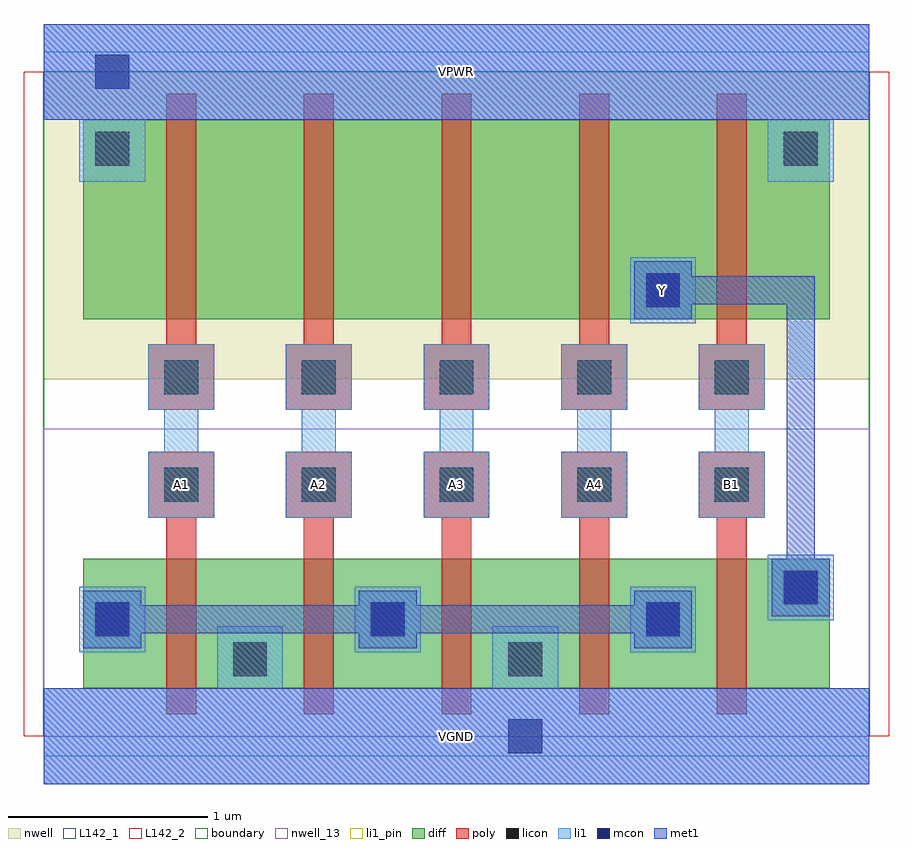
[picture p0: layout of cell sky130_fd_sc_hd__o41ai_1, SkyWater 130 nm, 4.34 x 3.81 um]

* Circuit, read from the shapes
.subckt sky130_fd_sc_hd__o41ai_1 A1 A2 A3 A4 B1 VGND VPWR Y
XM1 VGND A1 n1 VSUBS sky130_fd_pr__nfet_01v8 w=0.65 l=0.15
XM2 n1 A2 VGND VSUBS sky130_fd_pr__nfet_01v8 w=0.65 l=0.15
XM3 VGND A3 n1 VSUBS sky130_fd_pr__nfet_01v8 w=0.65 l=0.15
XM4 n1 A4 VGND VSUBS sky130_fd_pr__nfet_01v8 w=0.65 l=0.15
XM5 Y B1 n1 VSUBS sky130_fd_pr__nfet_01v8 w=0.65 l=0.15
XM6 n2 A1 VPWR n3 sky130_fd_pr__pfet_01v8 w=1 l=0.15
XM7 n4 A2 n2 n3 sky130_fd_pr__pfet_01v8 w=1 l=0.15
XM8 n5 A3 n4 n3 sky130_fd_pr__pfet_01v8 w=1 l=0.15
XM9 Y A4 n5 n3 sky130_fd_pr__pfet_01v8 w=1 l=0.15
XM10 VPWR B1 Y n3 sky130_fd_pr__pfet_01v8 w=1 l=0.15
.ends

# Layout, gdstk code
import gdstk
lib = gdstk.Library(unit=1e-6, precision=1e-09)
def R(c, l, rs):  # rectangles x0, y0, x1, y1
    for r in rs: c.add(gdstk.rectangle(r[:2], r[2:], *l))
def A(c, l, x, y, w, h, nx, ny, dx, dy):  # array of equal rectangles
    R(c, l, [(x+i*dx, y+j*dy, x+i*dx+w, y+j*dy+h) for i in range(nx) for j in range(ny)])
def P(c, l, *ps):  # polygons
    for p in ps: c.add(gdstk.Polygon(p, *l))
nwell_13 = (64, 13)
nwell = (64, 20)
diff = (65, 20)
poly = (66, 20)
licon = (66, 44)
li1_pin = (67, 16)
li1 = (67, 20)
mcon = (67, 44)
met1 = (68, 20)
L142_1 = (142, 1)
L142_2 = (142, 2)
boundary = (235, 4)

sky130_fd_sc_hd__o41ai_1 = lib.new_cell('sky130_fd_sc_hd__o41ai_1')
R(sky130_fd_sc_hd__o41ai_1, nwell_13, [(0,0,4.14,1.54)])
R(sky130_fd_sc_hd__o41ai_1, nwell, [(0,1.79,4.14,3.33)])
A(sky130_fd_sc_hd__o41ai_1, diff, 0.615, 0.24, 0.69, 0.65, 4, 1, 0.69, 0)
A(sky130_fd_sc_hd__o41ai_1, diff, 0.615, 2.09, 0.69, 1, 4, 1, 0.69, 0)
R(sky130_fd_sc_hd__o41ai_1, diff, [(0.2,0.24,3.94,0.89), (0.2,0.24,0.615,0.89), (3.375,0.24,3.94,0.89), (0.2,2.09,3.94,3.09), (0.2,2.09,0.615,3.09), (3.375,2.09,3.94,3.09)])
P(sky130_fd_sc_hd__o41ai_1, poly, [(1.305,0.11),(1.305,1.095),(1.215,1.095),(1.215,1.425),(1.545,1.425),(1.545,1.095),(1.455,1.095),(1.455,0.11)],
  [(1.215,1.635),(1.215,1.965),(1.305,1.965),(1.305,3.22),(1.455,3.22),(1.455,1.965),(1.545,1.965),(1.545,1.635)],
  [(0.615,0.11),(0.615,1.095),(0.525,1.095),(0.525,1.425),(0.855,1.425),(0.855,1.095),(0.765,1.095),(0.765,0.11)],
  [(0.525,1.635),(0.525,1.965),(0.615,1.965),(0.615,3.22),(0.765,3.22),(0.765,1.965),(0.855,1.965),(0.855,1.635)],
  [(2.685,0.11),(2.685,1.095),(2.595,1.095),(2.595,1.425),(2.925,1.425),(2.925,1.095),(2.835,1.095),(2.835,0.11)],
  [(2.595,1.635),(2.595,1.965),(2.685,1.965),(2.685,3.22),(2.835,3.22),(2.835,1.965),(2.925,1.965),(2.925,1.635)],
  [(1.995,0.11),(1.995,1.095),(1.905,1.095),(1.905,1.425),(2.235,1.425),(2.235,1.095),(2.145,1.095),(2.145,0.11)],
  [(1.905,1.635),(1.905,1.965),(1.995,1.965),(1.995,3.22),(2.145,3.22),(2.145,1.965),(2.235,1.965),(2.235,1.635)],
  [(3.375,0.11),(3.375,1.095),(3.285,1.095),(3.285,1.425),(3.615,1.425),(3.615,1.095),(3.525,1.095),(3.525,0.11)],
  [(3.285,1.635),(3.285,1.965),(3.375,1.965),(3.375,3.22),(3.525,3.22),(3.525,1.965),(3.615,1.965),(3.615,1.635)])
A(sky130_fd_sc_hd__o41ai_1, licon, 0.26, 0.5, 0.17, 0.17, 3, 1, 1.38, 0)
A(sky130_fd_sc_hd__o41ai_1, licon, 0.605, 1.175, 0.17, 0.17, 5, 2, 0.69, 0.54)
R(sky130_fd_sc_hd__o41ai_1, licon, [(0.95,0.3,1.12,0.47), (2.33,0.3,2.5,0.47), (3.71,0.66,3.88,0.83), (3.02,2.15,3.19,2.32), (0.26,2.86,0.43,3.03), (3.71,2.86,3.88,3.03)])
R(sky130_fd_sc_hd__o41ai_1, li1_pin, [(0,-0.24,4.14,0.24), (2.94,2.07,3.27,2.4), (0,3.09,4.14,3.57)])
P(sky130_fd_sc_hd__o41ai_1, li1_pin, [(1.905,1.095),(1.905,1.425),(1.985,1.425),(1.985,1.635),(1.905,1.635),(1.905,1.965),(2.235,1.965),(2.235,1.635),(2.155,1.635),(2.155,1.425),(2.235,1.425),(2.235,1.095)],
  [(0.525,1.095),(0.525,1.425),(0.605,1.425),(0.605,1.635),(0.525,1.635),(0.525,1.965),(0.855,1.965),(0.855,1.635),(0.775,1.635),(0.775,1.425),(0.855,1.425),(0.855,1.095)],
  [(2.595,1.095),(2.595,1.425),(2.675,1.425),(2.675,1.635),(2.595,1.635),(2.595,1.965),(2.925,1.965),(2.925,1.635),(2.845,1.635),(2.845,1.425),(2.925,1.425),(2.925,1.095)],
  [(1.215,1.095),(1.215,1.425),(1.295,1.425),(1.295,1.635),(1.215,1.635),(1.215,1.965),(1.545,1.965),(1.545,1.635),(1.465,1.635),(1.465,1.425),(1.545,1.425),(1.545,1.095)],
  [(3.285,1.095),(3.285,1.425),(3.365,1.425),(3.365,1.635),(3.285,1.635),(3.285,1.965),(3.615,1.965),(3.615,1.635),(3.535,1.635),(3.535,1.425),(3.615,1.425),(3.615,1.095)])
A(sky130_fd_sc_hd__o41ai_1, li1, 0.18, 0.42, 0.33, 0.33, 3, 1, 1.38, 0)
R(sky130_fd_sc_hd__o41ai_1, li1, [(3.63,0.58,3.96,0.91), (2.94,2.07,3.27,2.4)])
P(sky130_fd_sc_hd__o41ai_1, li1, [(1.215,1.095),(1.215,1.425),(1.295,1.425),(1.295,1.635),(1.215,1.635),(1.215,1.965),(1.545,1.965),(1.545,1.635),(1.465,1.635),(1.465,1.425),(1.545,1.425),(1.545,1.095)],
  [(0.18,2.78),(0.18,3.09),(0,3.09),(0,3.57),(4.14,3.57),(4.14,3.09),(3.96,3.09),(3.96,2.78),(3.63,2.78),(3.63,3.09),(0.51,3.09),(0.51,2.78)],
  [(0.525,1.095),(0.525,1.425),(0.605,1.425),(0.605,1.635),(0.525,1.635),(0.525,1.965),(0.855,1.965),(0.855,1.635),(0.775,1.635),(0.775,1.425),(0.855,1.425),(0.855,1.095)],
  [(0,-0.24),(0,0.24),(0.87,0.24),(0.87,0.55),(1.2,0.55),(1.2,0.24),(2.25,0.24),(2.25,0.55),(2.58,0.55),(2.58,0.24),(4.14,0.24),(4.14,-0.24)],
  [(2.595,1.095),(2.595,1.425),(2.675,1.425),(2.675,1.635),(2.595,1.635),(2.595,1.965),(2.925,1.965),(2.925,1.635),(2.845,1.635),(2.845,1.425),(2.925,1.425),(2.925,1.095)],
  [(1.905,1.095),(1.905,1.425),(1.985,1.425),(1.985,1.635),(1.905,1.635),(1.905,1.965),(2.235,1.965),(2.235,1.635),(2.155,1.635),(2.155,1.425),(2.235,1.425),(2.235,1.095)],
  [(3.285,1.095),(3.285,1.425),(3.365,1.425),(3.365,1.635),(3.285,1.635),(3.285,1.965),(3.615,1.965),(3.615,1.635),(3.535,1.635),(3.535,1.425),(3.615,1.425),(3.615,1.095)])
A(sky130_fd_sc_hd__o41ai_1, mcon, 0.26, 0.5, 0.17, 0.17, 3, 1, 1.38, 0)
R(sky130_fd_sc_hd__o41ai_1, mcon, [(2.33,-0.085,2.5,0.085), (3.71,0.66,3.88,0.83), (3.02,2.15,3.19,2.32), (0.26,3.245,0.43,3.415)])
R(sky130_fd_sc_hd__o41ai_1, met1, [(0,-0.24,4.14,0.24), (0,3.09,4.14,3.57)])
P(sky130_fd_sc_hd__o41ai_1, met1, [(3.65,0.6),(3.65,0.89),(3.725,0.89),(3.725,2.165),(3.25,2.165),(3.25,2.09),(2.96,2.09),(2.96,2.38),(3.25,2.38),(3.25,2.305),(3.865,2.305),(3.865,0.89),(3.94,0.89),(3.94,0.6)],
  [(0.2,0.44),(0.2,0.73),(0.49,0.73),(0.49,0.655),(1.58,0.655),(1.58,0.73),(1.87,0.73),(1.87,0.655),(2.96,0.655),(2.96,0.73),(3.25,0.73),(3.25,0.44),(2.96,0.44),(2.96,0.515),(1.87,0.515),(1.87,0.44),(1.58,0.44),(1.58,0.515),(0.49,0.515),(0.49,0.44)])
R(sky130_fd_sc_hd__o41ai_1, L142_1, [(0,-0.1,4.14,0), (0,3.33,4.14,3.43)])
R(sky130_fd_sc_hd__o41ai_1, L142_2, [(-0.1,0,0,3.33), (4.14,0,4.24,3.33)])
R(sky130_fd_sc_hd__o41ai_1, boundary, [(0,0,4.14,3.33)])
sky130_fd_sc_hd__o41ai_1.add(gdstk.Label('Y', (3.105,2.235), layer=67, texttype=5))
sky130_fd_sc_hd__o41ai_1.add(gdstk.Label('A3', (2.07,1.26), layer=67, texttype=5))
sky130_fd_sc_hd__o41ai_1.add(gdstk.Label('A1', (0.69,1.26), layer=67, texttype=5))
sky130_fd_sc_hd__o41ai_1.add(gdstk.Label('A4', (2.76,1.26), layer=67, texttype=5))
sky130_fd_sc_hd__o41ai_1.add(gdstk.Label('A2', (1.38,1.26), layer=67, texttype=5))
sky130_fd_sc_hd__o41ai_1.add(gdstk.Label('B1', (3.45,1.26), layer=67, texttype=5))
sky130_fd_sc_hd__o41ai_1.add(gdstk.Label('VGND', (2.07,0), layer=67, texttype=5))
sky130_fd_sc_hd__o41ai_1.add(gdstk.Label('VPWR', (2.07,3.33), layer=67, texttype=5))
sky130_fd_sc_hd__o41ai_1.add(gdstk.Label('VGND', (2.07,0), layer=68, texttype=5))
sky130_fd_sc_hd__o41ai_1.add(gdstk.Label('VPWR', (2.07,3.33), layer=68, texttype=5))

lib.write_gds('sky130_fd_sc_hd__o41ai_1.gds')
